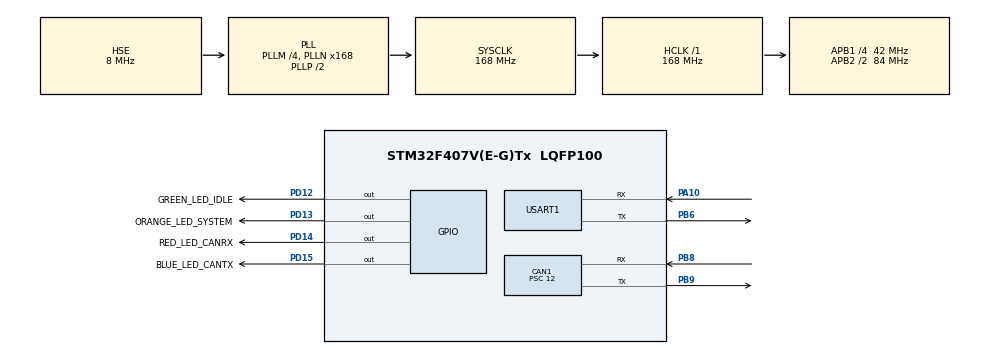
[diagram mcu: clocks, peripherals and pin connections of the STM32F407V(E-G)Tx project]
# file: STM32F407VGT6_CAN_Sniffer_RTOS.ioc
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CAN1.BS1=CAN_BS1_11TQ
CAN1.BS2=CAN_BS2_2TQ
CAN1.CalculateBaudRate=250000
CAN1.CalculateTimeBit=4000
CAN1.CalculateTimeQuantum=285.7142857142857
CAN1.Prescaler=12
FREERTOS.INCLUDE_vTaskDelayUntil=1
FREERTOS.Tasks01=defaultTask,0,128,StartDefaultTask,Default,NULL,Dynamic,NULL,NULL
Mcu.Family=STM32F4
Mcu.Name=STM32F407V(E-G)Tx
Mcu.Package=LQFP100
NVIC.CAN1_RX0_IRQn=true\:5\:0\:false\:false\:true\:true\:true\:true\:true
NVIC.PriorityGroup=NVIC_PRIORITYGROUP_4
NVIC.TIM6_DAC_IRQn=true\:0\:0\:false\:false\:true\:false\:false\:true\:true
NVIC.TimeBase=TIM6_DAC_IRQn
NVIC.TimeBaseIP=TIM6
NVIC.USART1_IRQn=true\:5\:0\:false\:false\:true\:true\:true\:true\:true
PA10.Mode=Asynchronous
PA10.Signal=USART1_RX
PA13.Mode=Serial_Wire
PA13.Signal=SYS_JTMS-SWDIO
PA14.Mode=Serial_Wire
PA14.Signal=SYS_JTCK-SWCLK
PB6.Mode=Asynchronous
PB6.Signal=USART1_TX
PB8.Mode=CAN_Activate
PB8.Signal=CAN1_RX
PB9.Mode=CAN_Activate
PB9.Signal=CAN1_TX
PD12.GPIO_Label=GREEN_LED_IDLE
PD12.Signal=GPIO_Output
PD13.GPIO_Label=ORANGE_LED_SYSTEM
PD13.PinState=GPIO_PIN_RESET
PD13.Signal=GPIO_Output
PD14.GPIO_Label=RED_LED_CANRX
PD14.Signal=GPIO_Output
PD15.GPIO_Label=BLUE_LED_CANTX
PD15.Signal=GPIO_Output
PH0-OSC_IN.Mode=HSE-External-Oscillator
PH0-OSC_IN.Signal=RCC_OSC_IN
PH1-OSC_OUT.Mode=HSE-External-Oscillator
PH1-OSC_OUT.Signal=RCC_OSC_OUT
ProjectManager.HeapSize=0x200
ProjectManager.StackSize=0x400
ProjectManager.TargetToolchain=STM32CubeIDE
RCC.48MHZClocksFreq_Value=84000000
RCC.AHBFreq_Value=168000000
RCC.APB1CLKDivider=RCC_HCLK_DIV4
RCC.APB1Freq_Value=42000000
RCC.APB1TimFreq_Value=84000000
RCC.APB2CLKDivider=RCC_HCLK_DIV2
RCC.APB2Freq_Value=84000000
RCC.APB2TimFreq_Value=168000000
RCC.CortexFreq_Value=168000000
RCC.HCLKFreq_Value=168000000
RCC.HSE_VALUE=8000000
RCC.HSI_VALUE=16000000
RCC.LSE_VALUE=32768
RCC.PLLM=4
RCC.PLLN=168
RCC.PLLSourceVirtual=RCC_PLLSOURCE_HSE
RCC.SYSCLKFreq_VALUE=168000000
RCC.SYSCLKSource=RCC_SYSCLKSOURCE_PLLCLK
RCC.VCOOutputFreq_Value=336000000
USART1.VirtualMode=VM_ASYNC
VP_FREERTOS_VS_CMSIS_V1.Mode=CMSIS_V1
VP_SYS_VS_tim6.Mode=TIM6
board=custom

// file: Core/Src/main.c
/* USER CODE BEGIN Header */
/**
 ******************************************************************************
 * @file           : main.c
 * @brief          : Main program body
 ******************************************************************************
 * @attention
 *
 * <h2><center>&copy; Copyright (c) 2021 STMicroelectronics.
 * All rights reserved.</center></h2>
 *
 * This software component is licensed by ST under BSD 3-Clause license,
 * the "License"; You may not use this file except in compliance with the
 * License. You may obtain a copy of the License at:
 *                        opensource.org/licenses/BSD-3-Clause
 *
 ******************************************************************************
 */
/* USER CODE END Header */
#include "main.h"
#include "cmsis_os.h"

/* USER CODE BEGIN Includes */
#include "stdio.h"
#include "string.h"
#include "cobs.h"
#include "stdbool.h"
#include <inttypes.h>

/* USER CODE END Includes */

/* USER CODE BEGIN PTD */
typedef struct qCmd {
	uint8_t commnddBuff[20];
	uint8_t commandSize;
} SnniferCommand;

typedef struct qCANMsg {
	uint8_t data[8];
	CAN_RxHeaderTypeDef header;
} CANMessage;

typedef enum {
	SNIFFER_STOPPED = 0x00, SNIFFER_ACTIVE = 0x01,
} SnifferAtivityStatus;

/* USER CODE END PTD */

/* USER CODE BEGIN PD */
#define osAnySignal 0x00
#define SIZE_RX 20
#define noWait 0
/* USER CODE END PD */

CAN_HandleTypeDef hcan1;

UART_HandleTypeDef huart1;

osThreadId defaultTaskHandle;
/* USER CODE BEGIN PV */

osThreadId receiveCommandsTaskId;
osThreadId executeCommmandtaskID;
osThreadId forwardDatagramTaskId;
osThreadId receivedDatagramTaskId;

osThreadId idleTaskId;

osMailQDef(pendingCommandsQueue, 100, SnniferCommand); // Define pendingCommandsQueue
osMailQId pendingCommandsQueue;

osMailQDef(canDatagramsQueue, 100, CANMessage);		// Define mail queue
osMailQId canDatagramsQueue;

// Peripherals ISR global variables
uint8_t rxUARTBuff[1] = { 0 };

CAN_RxHeaderTypeDef rxMessageHeader;
uint8_t rxDataReceived[8];

// Sneffer activity status variable
SnifferAtivityStatus snifferAtivityStatus = SNIFFER_STOPPED;

/* USER CODE END PV */

void SystemClock_Config(void);
static void MX_GPIO_Init(void);
static void MX_CAN1_Init(void);
static void MX_USART1_UART_Init(void);
void StartDefaultTask(void const * argument);

/* USER CODE BEGIN PFP */
void bootLEDIndicator(void);

void executeCommandThread(void const*);
void rcvCommandThread(void const*);
void fordwardDatagramsThread(void const*);
void recieivedDatagramsThread(void const*);
void idleThread(void const*);

/* USER CODE END PFP */

/* USER CODE BEGIN 0 */
#define NUMBER_BLINKS 20

void bootLEDIndicator(void) {
	int blinkCounter = 0;
	while (blinkCounter < NUMBER_BLINKS) {
		HAL_GPIO_TogglePin(ORANGE_LED_SYSTEM_GPIO_Port, ORANGE_LED_SYSTEM_Pin);
		HAL_Delay(30);
		blinkCounter++;
	}
	HAL_GPIO_WritePin(ORANGE_LED_SYSTEM_GPIO_Port, ORANGE_LED_SYSTEM_Pin, GPIO_PIN_SET);
}
void substr(char *str, char *sub, int start, int len) {
	memcpy(sub, &str[start], len);
	sub[len] = '\0';
}

int toInteger(uint8_t *stringToConvert, int len) {
	int counter = len - 1;
	int exp = 1;
	int value = 0;
	while (counter >= 0) {
		value = value + (stringToConvert[counter] - '0') * exp;
		exp = exp * 10;
		counter--;
	}
	return value;
}
uint32_t sendCANMessage(uint8_t dlc, uint32_t msgID, bool isRTR,bool isStandard, uint8_t *data) {

	uint32_t TxMailbox;
	CAN_TxHeaderTypeDef pHeader;
	pHeader.DLC = dlc;

	if (isStandard) {
		pHeader.IDE = CAN_ID_STD;
		pHeader.StdId = msgID;
	} else {
		pHeader.IDE = CAN_ID_EXT;
		pHeader.ExtId = msgID;
	}
	if (isRTR) {
		pHeader.RTR = CAN_RTR_REMOTE;
	} else {
		pHeader.RTR = CAN_RTR_DATA;
	}

	HAL_GPIO_TogglePin(BLUE_LED_CANTX_GPIO_Port,BLUE_LED_CANTX_Pin);

	HAL_CAN_AddTxMessage(&hcan1, &pHeader, data, &TxMailbox);
	return TxMailbox;
}

void setSinfferCANFilter(void) {
	/* Default filter - accept all to CAN_FIFO*/
	CAN_FilterTypeDef sFilterConfig;
	sFilterConfig.FilterBank = 0;
	sFilterConfig.FilterIdHigh = 0x00005;
	sFilterConfig.FilterBank = 0x0000;
	sFilterConfig.FilterMode = CAN_FILTERMODE_IDMASK;
	sFilterConfig.FilterScale = CAN_FILTERSCALE_32BIT;
	sFilterConfig.FilterIdHigh = 0x200 << 5;  //11-bit ID, in top bits
	sFilterConfig.FilterIdLow = 0x0000;
	sFilterConfig.FilterMaskIdHigh = 0x0000;
	sFilterConfig.FilterMaskIdLow = 0x0000;
	sFilterConfig.FilterFIFOAssignment = CAN_FILTER_FIFO0;
	sFilterConfig.FilterActivation = ENABLE;

	HAL_CAN_ConfigFilter(&hcan1, &sFilterConfig);
}

void processMessageComand(char *decodedCommand) {
	uint8_t cursor = 1;

	if (decodedCommand[cursor] == 'T') {
		cursor++;
		uint8_t messageID_str[9];
		substr((char*) decodedCommand, (char*) messageID_str, cursor, 9);

		int msgID = toInteger(messageID_str, 9);
		cursor += 9;

		uint8_t dlc_str[1];
		substr((char*) decodedCommand, (char*) dlc_str, cursor, 1);
		uint8_t dlc = atoi((char*) dlc_str);

		cursor++;
		uint8_t data[8];
		substr((char*) decodedCommand, (char*) data, cursor, 8);

		sendCANMessage(dlc, msgID, false, false, data);

	} else if (decodedCommand[cursor] == 'R') {
		cursor++;
		uint8_t messageID_str[9];
		substr((char*) decodedCommand, (char*) messageID_str, cursor, 9);

		int msgID = toInteger(messageID_str, 9);
		cursor += 9;

		uint8_t dlc_str[1];
		substr((char*) decodedCommand, (char*) dlc_str, cursor, 1);
		uint8_t dlc = toInteger(dlc_str, 1);

		sendCANMessage(dlc, msgID, true, false, 0x00);
	} else if (decodedCommand[cursor] == 't') {
		cursor++;
		uint8_t messageID_str[4];
		substr((char*) decodedCommand, (char*) messageID_str, cursor, 4);
		int msgID = toInteger(messageID_str, 4);
		cursor += 4;

		uint8_t dlc_str[1];
		substr((char*) decodedCommand, (char*) dlc_str, cursor, 1);
		uint8_t dlc = toInteger(dlc_str, 1);

		cursor++;
		uint8_t data[8];
		substr((char*) decodedCommand, (char*) data, cursor, 8);

		sendCANMessage(dlc, msgID, false, true, data);

	} else if (decodedCommand[cursor] == 'r') {
		cursor++;
		uint8_t messageID_str[4];
		substr((char*) decodedCommand, (char*) messageID_str, cursor, 4);
		int msgID = toInteger(messageID_str, 4);
		cursor += 4;

		uint8_t dlc_str[1];
		substr((char*) decodedCommand, (char*) dlc_str, cursor, 1);
		uint8_t dlc = atoi((char*) dlc_str);

		sendCANMessage(dlc, msgID, true, true, 0x00);
	}

}

void processBitRateCommand(char *decodedCommand) {

	uint8_t bitrateSrt[3];
	substr((char*) decodedCommand, (char*) bitrateSrt, 1, 3);
	int bitRate = toInteger(bitrateSrt, 3);

	bool idetified = false;

	switch (bitRate) {
	case 10:
		hcan1.Init.Prescaler = 300;
		idetified = true;
		break;
	case 20:
		hcan1.Init.Prescaler = 150;
		idetified = true;
		break;
	case 50:
		hcan1.Init.Prescaler = 60;
		idetified = true;
		break;
	case 100:
		hcan1.Init.Prescaler = 30;
		idetified = true;
		break;
	case 125:
		hcan1.Init.Prescaler = 24;
		idetified = true;
		break;
	case 250:
		hcan1.Init.Prescaler = 12;
		idetified = true;
		break;
	case 500:
		hcan1.Init.Prescaler = 6;
		idetified = true;
		break;
	}
	if (idetified) {
		HAL_CAN_DeInit(&hcan1);
		HAL_CAN_Init(&hcan1);
		setSinfferCANFilter();
		HAL_CAN_Start(&hcan1);
		if (snifferAtivityStatus != SNIFFER_STOPPED) {
			HAL_CAN_ActivateNotification(&hcan1, CAN_IT_RX_FIFO0_MSG_PENDING);
		}
	}
}
void processLoopBackModeCommand(char *decodedCommand) {

	uint8_t mode[2];
	bool idetified = false;
	substr((char*) decodedCommand, (char*) mode, 1, 2);
	if (!strcmp((char*) mode, "LB")) {
		hcan1.Init.Mode = CAN_MODE_LOOPBACK;
		idetified = true;
	} else if (!strcmp((char*) mode, "SM")) {
		hcan1.Init.Mode = CAN_MODE_SILENT;
		idetified = true;
	} else if (!strcmp((char*) mode, "NM")) {
		hcan1.Init.Mode = CAN_MODE_NORMAL;
		idetified = true;
	} else if (!strcmp((char*) mode, "SL")) {
		hcan1.Init.Mode = CAN_MODE_SILENT_LOOPBACK;
		idetified = true;
	}
	if (idetified) {
		HAL_CAN_DeInit(&hcan1);
		HAL_CAN_Init(&hcan1);
		setSinfferCANFilter();
		HAL_CAN_Start(&hcan1);
		if (snifferAtivityStatus != SNIFFER_STOPPED) {
			HAL_CAN_ActivateNotification(&hcan1, CAN_IT_RX_FIFO0_MSG_PENDING);
		}

	}
}

void processActivitySniferComand(char *decodedCommand) {

	uint8_t activityMode[3];
	substr((char*) decodedCommand, (char*) activityMode, 1, 3);

	if (!strcmp((char*) activityMode, "ON_")) {
		snifferAtivityStatus = SNIFFER_ACTIVE;
		HAL_CAN_ActivateNotification(&hcan1, CAN_IT_RX_FIFO0_MSG_PENDING);

	}

	else if (!strcmp((char*) activityMode, "OFF")) {
		HAL_CAN_DeactivateNotification(&hcan1, CAN_IT_RX_FIFO0_MSG_PENDING);
		snifferAtivityStatus = SNIFFER_STOPPED;

	}
}
void processRebootCommand() {
	NVIC_SystemReset();
}

void setDatagramTypeIdentifer(uint32_t ide, uint32_t rtr, uint8_t *pExitBuffer,
		uint8_t *pCursor) {
	if (ide == CAN_ID_STD) {
		if (rtr == CAN_RTR_DATA) {
			pExitBuffer[*pCursor] = 't';
		} else if (rtr == CAN_RTR_REMOTE) {
			pExitBuffer[*pCursor] = 'r';
		}
	} else if (ide == CAN_ID_EXT) {

		if (rtr == CAN_RTR_DATA) {
			pExitBuffer[*pCursor] = 'T';
		} else if (rtr == CAN_RTR_REMOTE) {
			pExitBuffer[*pCursor] = 'R';
		}
	}
	*pCursor = *pCursor + 1;
}

void setFormatedDatagramIdentifer(uint32_t idNum, uint8_t *pExitBuffer,uint8_t *pCursor, int len) {

	char *id = (char*) pvPortMalloc(sizeof(char) * (len + 1));
	int numOfDigits = 0;
	int valueToConsume = idNum;

	while (valueToConsume != 0) {
		valueToConsume /= 10;     // n = n/10
		++numOfDigits;
	}

	sprintf(id + (len - numOfDigits), "%d", (int) idNum);
	for (int eraser = 0; eraser < (len - numOfDigits); eraser++) {
		id[eraser] = '0';
	}
	strcpy((char*) pExitBuffer + *pCursor, id);
	vPortFree(id);
	*pCursor = *pCursor + len;
}

void setDatagramIdentifer(CAN_RxHeaderTypeDef receivedCANHeader,
		uint8_t *pExitBuffer, uint8_t *pCursor) {
	if (receivedCANHeader.IDE == CAN_ID_EXT) {
		setFormatedDatagramIdentifer(receivedCANHeader.ExtId, pExitBuffer,
				pCursor, 9);
	}
	if (receivedCANHeader.IDE == CAN_ID_STD) {
		setFormatedDatagramIdentifer(receivedCANHeader.StdId, pExitBuffer,
				pCursor, 4);
	}
}

void setDLC(uint32_t dlc, uint8_t *pExitBuffer, uint8_t *pCursor) {
	sprintf((char*) pExitBuffer + *pCursor, "%d", (int) dlc);
	*pCursor = *pCursor + 1;
}

void setData(uint8_t *data, int dlc, uint8_t *pExitBuffer, uint8_t *pCursor) {
	for (int counter = 0; counter < dlc; counter++) {
		pExitBuffer[*pCursor + counter] = data[counter];
	}
	*pCursor = *pCursor + dlc;
}

uint8_t serializeDatagram(uint8_t *pExitBuffer,CAN_RxHeaderTypeDef receivedCANHeader, uint8_t *rxData) {

	uint8_t cursor = 0;

	setDatagramTypeIdentifer(receivedCANHeader.IDE, receivedCANHeader.RTR,
			pExitBuffer, &cursor);
	setDatagramIdentifer(receivedCANHeader, pExitBuffer, &cursor);
	setDLC(receivedCANHeader.DLC, pExitBuffer, &cursor);
	if (receivedCANHeader.RTR == CAN_RTR_DATA) {
		setData(rxData, receivedCANHeader.DLC, pExitBuffer, &cursor);
	}

	return cursor;
}

void HAL_UART_RxCpltCallback(UART_HandleTypeDef *huart) {
	if (huart->Instance == huart1.Instance) {
		osSignalSet(receiveCommandsTaskId, osAnySignal);
	}
}

 void HAL_CAN_RxFifo0MsgPendingCallback(CAN_HandleTypeDef *hcan) {
  	if (HAL_CAN_GetRxMessage(&hcan1, CAN_RX_FIFO0, &rxMessageHeader,rxDataReceived) == HAL_OK) {
  		if (snifferAtivityStatus == SNIFFER_ACTIVE) {
  			osSignalSet(receivedDatagramTaskId, osAnySignal);

  		}
  	}
  	HAL_GPIO_TogglePin(RED_LED_CANRX_GPIO_Port,RED_LED_CANRX_Pin);

  		// USART1_TX 디버깅 코드
//  	char testMessage[] = "Hello, USART1!\r\n";
//  	HAL_UART_Transmit(&huart3, (uint8_t*)testMessage, strlen(testMessage), HAL_MAX_DELAY);
//  	char debugMessage[50];
//  	if (rxMessageHeader.IDE == CAN_ID_STD) {
//  		sprintf(debugMessage, "Standard CAN ID: 0x%" PRIx32 "\r\n", rxMessageHeader.StdId);
//  	} else {
//  		sprintf(debugMessage, "Extended CAN ID: 0x%" PRIx32 "\r\n", rxMessageHeader.ExtId);
//  	}
//  	HAL_UART_Transmit(&huart3, (uint8_t*)debugMessage, strlen(debugMessage), HAL_MAX_DELAY);

 }

/* USER CODE END 0 */

int main(void)
{

  /* MCU Configuration--------------------------------------------------------*/

  /* Reset of all peripherals, Initializes the Flash interface and the Systick. */
  HAL_Init();

  /* Configure the system clock */
  SystemClock_Config();

  /* Initialize all configured peripherals */
  MX_GPIO_Init();
  MX_CAN1_Init();
  MX_USART1_UART_Init();
  /* USER CODE BEGIN 2 */
	HAL_UART_Receive_IT(&huart1, rxUARTBuff, 1);
	setSinfferCANFilter();

	/*Original code */
	HAL_CAN_Start(&hcan1);
	if (snifferAtivityStatus != SNIFFER_STOPPED) {
		HAL_CAN_ActivateNotification(&hcan1, CAN_IT_RX_FIFO0_MSG_PENDING);
	}

	/* Code to make a state sniffer state without using a dedicated GUI app*/
//	HAL_CAN_Start(&hcan1);
//	if (HAL_CAN_ActivateNotification(&hcan1, CAN_IT_RX_FIFO0_MSG_PENDING) == HAL_OK) {
//		HAL_GPIO_TogglePin(GREEN_LED_GPIO_Port,GREEN_LED_Pin);
//	}

  /* USER CODE END 2 */

  /* USER CODE BEGIN RTOS_QUEUES */
	pendingCommandsQueue = osMailCreate(osMailQ(pendingCommandsQueue), NULL); // create pendingCommandsQueue
	canDatagramsQueue = osMailCreate(osMailQ(canDatagramsQueue), NULL);
  /* USER CODE END RTOS_QUEUES */

  /* Create the thread(s) */
  /* definition and creation of defaultTask */
  osThreadDef(defaultTask, StartDefaultTask, osPriorityNormal, 0, 128);
  defaultTaskHandle = osThreadCreate(osThread(defaultTask), NULL);

  /* USER CODE BEGIN RTOS_THREADS */

	osThreadDef(rcvCommandTask, rcvCommandThread, osPriorityRealtime, 0, 128);
	receiveCommandsTaskId = osThreadCreate(osThread(rcvCommandTask), NULL);

	osThreadDef(executeCommandTask, executeCommandThread, osPriorityRealtime, 0,128);
	executeCommmandtaskID = osThreadCreate(osThread(executeCommandTask), NULL);

	osThreadDef(forwardDatagramsTask, fordwardDatagramsThread, osPriorityNormal,0, 640);
	forwardDatagramTaskId = osThreadCreate(osThread(forwardDatagramsTask),NULL);

	osThreadDef(receiveDatagramsTask, recieivedDatagramsThread,osPriorityNormal, 0, 640);
	receivedDatagramTaskId = osThreadCreate(osThread(receiveDatagramsTask),NULL);

	osThreadDef(idleTask, idleThread, osPriorityIdle, 0, 128);
	idleTaskId = osThreadCreate(osThread(idleTask), NULL);

	bootLEDIndicator();

  /* USER CODE END RTOS_THREADS */

  /* Start scheduler */
  osKernelStart();

  /* We should never get here as control is now taken by the scheduler */
  /* Infinite loop */
	while (1) {

	}
}

void SystemClock_Config(void)
{
  RCC_OscInitTypeDef RCC_OscInitStruct = {0};
  RCC_ClkInitTypeDef RCC_ClkInitStruct = {0};

  /** Configure the main internal regulator output voltage
  */
  __HAL_RCC_PWR_CLK_ENABLE();
  __HAL_PWR_VOLTAGESCALING_CONFIG(PWR_REGULATOR_VOLTAGE_SCALE1);
  /** Initializes the RCC Oscillators according to the specified parameters
  * in the RCC_OscInitTypeDef structure.
  */
  RCC_OscInitStruct.OscillatorType = RCC_OSCILLATORTYPE_HSE;
  RCC_OscInitStruct.HSEState = RCC_HSE_ON;
  RCC_OscInitStruct.PLL.PLLState = RCC_PLL_ON;
  RCC_OscInitStruct.PLL.PLLSource = RCC_PLLSOURCE_HSE;
  RCC_OscInitStruct.PLL.PLLM = 4;
  RCC_OscInitStruct.PLL.PLLN = 168;
  RCC_OscInitStruct.PLL.PLLP = RCC_PLLP_DIV2;
  RCC_OscInitStruct.PLL.PLLQ = 4;
  if (HAL_RCC_OscConfig(&RCC_OscInitStruct) != HAL_OK)
  {
    Error_Handler();
  }
  /** Initializes the CPU, AHB and APB buses clocks
  */
  RCC_ClkInitStruct.ClockType = RCC_CLOCKTYPE_HCLK|RCC_CLOCKTYPE_SYSCLK
                              |RCC_CLOCKTYPE_PCLK1|RCC_CLOCKTYPE_PCLK2;
  RCC_ClkInitStruct.SYSCLKSource = RCC_SYSCLKSOURCE_PLLCLK;
  RCC_ClkInitStruct.AHBCLKDivider = RCC_SYSCLK_DIV1;
  RCC_ClkInitStruct.APB1CLKDivider = RCC_HCLK_DIV4;
  RCC_ClkInitStruct.APB2CLKDivider = RCC_HCLK_DIV2;

  if (HAL_RCC_ClockConfig(&RCC_ClkInitStruct, FLASH_LATENCY_5) != HAL_OK)
  {
    Error_Handler();
  }
}

static void MX_CAN1_Init(void)
{

  hcan1.Instance = CAN1;
  hcan1.Init.Prescaler = 12;
  hcan1.Init.Mode = CAN_MODE_NORMAL;
  hcan1.Init.SyncJumpWidth = CAN_SJW_1TQ;
  hcan1.Init.TimeSeg1 = CAN_BS1_11TQ;
  hcan1.Init.TimeSeg2 = CAN_BS2_2TQ;
  hcan1.Init.TimeTriggeredMode = DISABLE;
  hcan1.Init.AutoBusOff = DISABLE;
  hcan1.Init.AutoWakeUp = DISABLE;
  hcan1.Init.AutoRetransmission = DISABLE;
  hcan1.Init.ReceiveFifoLocked = DISABLE;
  hcan1.Init.TransmitFifoPriority = DISABLE;
  if (HAL_CAN_Init(&hcan1) != HAL_OK)
  {
    Error_Handler();
  }

}

static void MX_USART1_UART_Init(void)
{

  huart1.Instance = USART1;
  huart1.Init.BaudRate = 115200;
  huart1.Init.WordLength = UART_WORDLENGTH_8B;
  huart1.Init.StopBits = UART_STOPBITS_1;
  huart1.Init.Parity = UART_PARITY_NONE;
  huart1.Init.Mode = UART_MODE_TX_RX;
  huart1.Init.HwFlowCtl = UART_HWCONTROL_NONE;
  huart1.Init.OverSampling = UART_OVERSAMPLING_16;
  if (HAL_UART_Init(&huart1) != HAL_OK)
  {
    Error_Handler();
  }

}

static void MX_GPIO_Init(void)
{
  GPIO_InitTypeDef GPIO_InitStruct = {0};

  /* GPIO Ports Clock Enable */
  __HAL_RCC_GPIOH_CLK_ENABLE();
  __HAL_RCC_GPIOD_CLK_ENABLE();
  __HAL_RCC_GPIOA_CLK_ENABLE();
  __HAL_RCC_GPIOB_CLK_ENABLE();

  /*Configure GPIO pin Output Level */
  HAL_GPIO_WritePin(GPIOD, GREEN_LED_IDLE_Pin|ORANGE_LED_SYSTEM_Pin|RED_LED_CANRX_Pin|BLUE_LED_CANTX_Pin, GPIO_PIN_RESET);

  /*Configure GPIO pins : GREEN_LED_IDLE_Pin ORANGE_LED_SYSTEM_Pin RED_LED_CANRX_Pin BLUE_LED_CANTX_Pin */
  GPIO_InitStruct.Pin = GREEN_LED_IDLE_Pin|ORANGE_LED_SYSTEM_Pin|RED_LED_CANRX_Pin|BLUE_LED_CANTX_Pin;
  GPIO_InitStruct.Mode = GPIO_MODE_OUTPUT_PP;
  GPIO_InitStruct.Pull = GPIO_NOPULL;
  GPIO_InitStruct.Speed = GPIO_SPEED_FREQ_LOW;
  HAL_GPIO_Init(GPIOD, &GPIO_InitStruct);

}

/* USER CODE BEGIN 4 */
void rcvCommandThread(void const *argument) {
	uint8_t rxCommandBuff[SIZE_RX] = { 0 };
	volatile uint8_t cursor = 0;
	uint8_t rxValue[1] = { 0 };
	osEvent evt;
	while (true) {
		evt = osSignalWait(osAnySignal, 1);//osWaitForever
		if (evt.status == osEventSignal) {
			rxValue[0] = rxUARTBuff[0];
			HAL_UART_Receive_IT(&huart1, rxUARTBuff, 1);
			rxCommandBuff[cursor] = rxValue[0];
			cursor++;
			if (cursor >= SIZE_RX) {
				cursor = 0;
			}
			if (rxValue[0] == 0x00) {
				SnniferCommand *pendingCmd;
				pendingCmd = osMailCAlloc(pendingCommandsQueue, 1); // osWaitForever
				if (pendingCmd != NULL) {
					strcpy((char*) pendingCmd->commnddBuff,
							(char*) rxCommandBuff);
					pendingCmd->commandSize = cursor - 1;
					osMailPut(pendingCommandsQueue, pendingCmd);
					osThreadYield();
				}
				cursor = 0;
			}

		}
		else{
			osThreadYield();
		}
	}
}

void executeCommandThread(void const *argument) {
	SnniferCommand *dequedComand;
	uint8_t decodedCommand[20] = { 0 };
	osEvent evt;
	while (true) {
		evt = osMailGet(pendingCommandsQueue, 1);//osWaitForever
		if (evt.status == osEventMail) {
			dequedComand = evt.value.p;
			cobs_decode_result resutlt = cobs_decode(decodedCommand, 20,dequedComand->commnddBuff, dequedComand->commandSize);
			if (resutlt.status == COBS_DECODE_OK) {
				if (decodedCommand[0] == 'A') {
					// Change activity status
					processActivitySniferComand((char*) decodedCommand);
				}
				if (decodedCommand[0] == 'M') {
					// Send a datagram to the CAN Bus
					processMessageComand((char*) decodedCommand);
				} else if (decodedCommand[0] == 'S') {
					// Change bit rate
					processBitRateCommand((char*) decodedCommand);
				} else if (decodedCommand[0] == 'N') {
					// Change Mode CAN bus Mode
					processLoopBackModeCommand((char*) decodedCommand);
				}	// Reboot Snifer
				else if (decodedCommand[0] == 'R') {
					processRebootCommand();
				}
			}
			memset(decodedCommand, 0, sizeof(decodedCommand));
			osMailFree(pendingCommandsQueue, dequedComand);
			osThreadYield();
		}
		else{
			osThreadYield();
		}
	}
}

void recieivedDatagramsThread(void const *argument) {
	//CAN_RxHeaderTypeDef rxMessageHeader;
	//uint8_t rxDataReceived[8];
	osEvent evt;
	while (true) {
		evt = osSignalWait(osAnySignal, 1);//osWaitForever
		if (evt.status == osEventSignal) {
			CANMessage *msgToSend = osMailCAlloc(canDatagramsQueue, noWait);
			if (msgToSend != NULL) {
				 msgToSend->header = rxMessageHeader;
				 strcpy((char*) msgToSend->data, (char*) rxDataReceived);
				 osMailPut(canDatagramsQueue, msgToSend);
			}
			osThreadYield();
		}
		else{
			osThreadYield();
		}

	}
}

void fordwardDatagramsThread(void const *argument) {
	uint8_t serializedDatagram[24] = { 0 };
	uint8_t lenSerialized;
	uint8_t encodedDatagram[24] = { 0 };
	osEvent evt;
	CANMessage *dequeuedMsg;
	while (true) {
		evt = osMailGet(canDatagramsQueue, 1);	//osWaitForever
		if (evt.status == osEventMail) {
			dequeuedMsg = evt.value.p;
			lenSerialized = serializeDatagram(serializedDatagram,dequeuedMsg->header, dequeuedMsg->data);
			cobs_encode_result result = cobs_encode(encodedDatagram, 24,serializedDatagram, lenSerialized + 1);
			if (result.status == COBS_ENCODE_OK) {
				// Append Zero byte to delimiter frame boundary
				encodedDatagram[result.out_len + 1] = 0x00;
				HAL_UART_Transmit(&huart1, encodedDatagram, result.out_len + 1,50);
				// Toggle monitoring line to indicate a successful datagrams retransmission
				memset(encodedDatagram, 0, sizeof(encodedDatagram));
			}
			osMailFree(canDatagramsQueue, dequeuedMsg);
			osThreadYield();

		}else{
			osThreadYield();
		}
	}
}

void idleThread(void const *argument) {
	while (true) {
		HAL_GPIO_TogglePin(GREEN_LED_IDLE_GPIO_Port,GREEN_LED_IDLE_Pin);
		osDelay(100);
	}
}

/* USER CODE END 4 */

void StartDefaultTask(void const * argument)
{
  for(;;)
  {
    osDelay(1);
  }
}

 /**
  * @brief  Period elapsed callback in non blocking mode
  * @note   This function is called  when TIM6 interrupt took place, inside
  * HAL_TIM_IRQHandler(). It makes a direct call to HAL_IncTick() to increment
  * a global variable "uwTick" used as application time base.
  * @param  htim : TIM handle
  * @retval None
  */
void HAL_TIM_PeriodElapsedCallback(TIM_HandleTypeDef *htim)
{
  if (htim->Instance == TIM6) {
    HAL_IncTick();
  }
}

void Error_Handler(void)
{
	__disable_irq();
	while (1) {
	}
}

/************************ (C) COPYRIGHT STMicroelectronics *****END OF FILE****/
